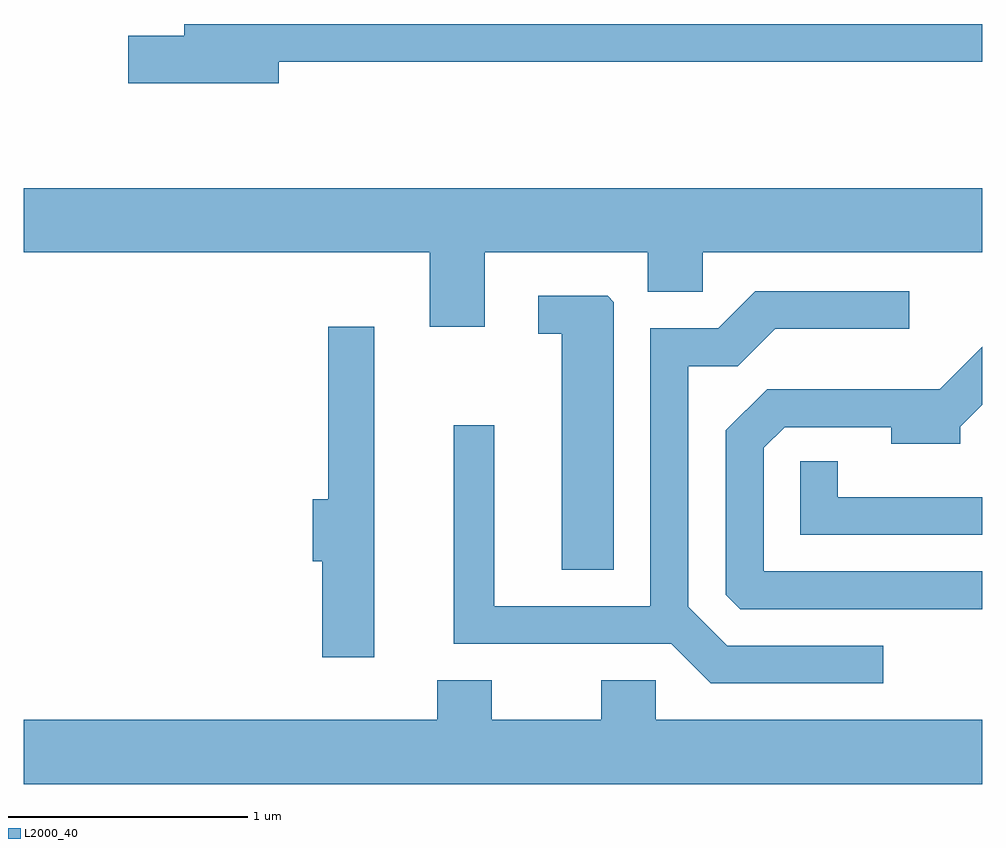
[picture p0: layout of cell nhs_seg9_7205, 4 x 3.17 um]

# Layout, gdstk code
import gdstk
lib = gdstk.Library(unit=1e-6, precision=1e-09)
def P(c, l, *ps):  # polygons
    for p in ps: c.add(gdstk.Polygon(p, *l))
L2000_40 = (2000, 40)

nhs_seg9_7205 = lib.new_cell('nhs_seg9_7205')
P(nhs_seg9_7205, L2000_40, [(398.674,2068.091),(401.611,2068.091),(401.611,2068.249),(398.281,2068.249),(398.281,2068.199),(398.046,2068.199),(398.046,2068.001),(398.674,2068.001)],
  [(399.534,2067.296),(400.216,2067.296),(400.216,2067.131),(400.444,2067.131),(400.444,2067.296),(401.611,2067.296),(401.611,2067.564),(397.611,2067.564),(397.611,2067.296),(399.306,2067.296),(399.306,2066.986),(399.534,2066.986)],
  [(401.198,2065.654),(400.547,2065.654),(400.384,2065.817),(400.384,2066.821),(400.592,2066.821),(400.747,2066.976),(401.308,2066.976),(401.308,2067.134),(400.664,2067.134),(400.509,2066.979),(400.226,2066.979),(400.226,2065.819),(399.574,2065.819),(399.574,2066.573),(399.406,2066.573),(399.406,2065.661),(400.314,2065.661),(400.479,2065.496),(401.198,2065.496)],
  [(400.074,2067.088),(400.049,2067.114),(399.758,2067.114),(399.758,2066.956),(399.856,2066.956),(399.856,2065.971),(400.074,2065.971)],
  [(399.074,2066.984),(398.881,2066.984),(398.881,2066.264),(398.816,2066.264),(398.816,2066.006),(398.856,2066.006),(398.856,2065.606),(399.074,2065.606)],
  [(401.611,2065.964),(400.699,2065.964),(400.699,2066.479),(400.787,2066.566),(401.231,2066.566),(401.231,2066.496),(401.519,2066.496),(401.519,2066.568),(401.611,2066.66),(401.611,2066.901),(401.434,2066.724),(400.714,2066.724),(400.541,2066.552),(400.541,2065.867),(400.602,2065.806),(401.611,2065.806)],
  [(401.611,2066.274),(401.009,2066.274),(401.009,2066.423),(400.851,2066.423),(400.851,2066.116),(401.611,2066.116)],
  [(401.611,2065.344),(400.249,2065.344),(400.249,2065.509),(400.021,2065.509),(400.021,2065.344),(399.564,2065.344),(399.564,2065.509),(399.336,2065.509),(399.336,2065.344),(397.611,2065.344),(397.611,2065.076),(401.611,2065.076)])

lib.write_gds('nhs_seg9_7205.gds')
